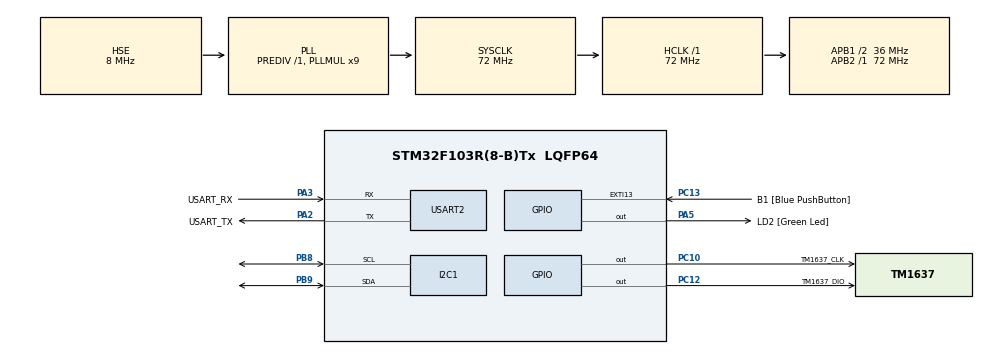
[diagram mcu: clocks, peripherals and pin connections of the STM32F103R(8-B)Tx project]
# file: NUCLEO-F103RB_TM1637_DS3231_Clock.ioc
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Dma.Request0=USART2_RX
Dma.USART2_RX.0.Direction=DMA_PERIPH_TO_MEMORY
Dma.USART2_RX.0.Instance=DMA1_Channel6
Dma.USART2_RX.0.MemDataAlignment=DMA_MDATAALIGN_BYTE
Dma.USART2_RX.0.MemInc=DMA_MINC_ENABLE
Dma.USART2_RX.0.Mode=DMA_NORMAL
Dma.USART2_RX.0.PeriphDataAlignment=DMA_PDATAALIGN_BYTE
Dma.USART2_RX.0.PeriphInc=DMA_PINC_DISABLE
Dma.USART2_RX.0.Priority=DMA_PRIORITY_LOW
Mcu.Family=STM32F1
Mcu.Name=STM32F103R(8-B)Tx
Mcu.Package=LQFP64
NVIC.DMA1_Channel6_IRQn=true\:0\:0\:false\:false\:true\:false\:true\:true
NVIC.EXTI15_10_IRQn=true\:0\:0\:false\:false\:true\:true\:true\:true
NVIC.PriorityGroup=NVIC_PRIORITYGROUP_4
PA13.GPIO_Label=TMS
PA13.Mode=Serial_Wire
PA13.Signal=SYS_JTMS-SWDIO
PA14.GPIO_Label=TCK
PA14.Mode=Serial_Wire
PA14.Signal=SYS_JTCK-SWCLK
PA2.GPIO_Label=USART_TX
PA2.GPIO_Mode=GPIO_MODE_AF_PP
PA2.GPIO_PuPd=GPIO_NOPULL
PA2.GPIO_Speed=GPIO_SPEED_FREQ_LOW
PA2.Mode=Asynchronous
PA2.Signal=USART2_TX
PA3.GPIO_Label=USART_RX
PA3.GPIO_Mode=GPIO_MODE_AF_PP
PA3.GPIO_PuPd=GPIO_NOPULL
PA3.GPIO_Speed=GPIO_SPEED_FREQ_LOW
PA3.Mode=Asynchronous
PA3.Signal=USART2_RX
PA5.GPIO_Label=LD2 [Green Led]
PA5.GPIO_ModeDefaultOutputPP=GPIO_MODE_OUTPUT_PP
PA5.GPIO_PuPd=GPIO_NOPULL
PA5.GPIO_Speed=GPIO_SPEED_FREQ_LOW
PA5.Signal=GPIO_Output
PB3.GPIO_Label=SWO
PB3.Signal=SYS_JTDO-TRACESWO
PB8.Mode=I2C
PB8.Signal=I2C1_SCL
PB9.Mode=I2C
PB9.Signal=I2C1_SDA
PC10.GPIO_Label=TM1637_CLK
PC10.GPIO_ModeDefaultOutputPP=GPIO_MODE_OUTPUT_OD
PC10.GPIO_PuPd=GPIO_PULLUP
PC10.GPIO_Speed=GPIO_SPEED_FREQ_HIGH
PC10.PinState=GPIO_PIN_SET
PC10.Signal=GPIO_Output
PC12.GPIO_Label=TM1637_DIO
PC12.GPIO_ModeDefaultOutputPP=GPIO_MODE_OUTPUT_OD
PC12.GPIO_PuPd=GPIO_PULLUP
PC12.GPIO_Speed=GPIO_SPEED_FREQ_HIGH
PC12.PinState=GPIO_PIN_SET
PC12.Signal=GPIO_Output
PC13-TAMPER-RTC.GPIO_Label=B1 [Blue PushButton]
PC13-TAMPER-RTC.GPIO_PuPd=GPIO_NOPULL
PC13-TAMPER-RTC.Signal=GPXTI13
PC14-OSC32_IN.Mode=LSE-External-Oscillator
PC14-OSC32_IN.Signal=RCC_OSC32_IN
PC15-OSC32_OUT.Mode=LSE-External-Oscillator
PC15-OSC32_OUT.Signal=RCC_OSC32_OUT
PD0-OSC_IN.Mode=HSE-External-Clock-Source
PD0-OSC_IN.Signal=RCC_OSC_IN
PD1-OSC_OUT.Mode=HSE-External-Clock-Source
PD1-OSC_OUT.Signal=RCC_OSC_OUT
ProjectManager.HeapSize=0x400
ProjectManager.StackSize=0x400
ProjectManager.TargetToolchain=STM32CubeIDE
RCC.AHBFreq_Value=72000000
RCC.APB1CLKDivider=RCC_HCLK_DIV2
RCC.APB1Freq_Value=36000000
RCC.APB1TimFreq_Value=72000000
RCC.APB2Freq_Value=72000000
RCC.APB2TimFreq_Value=72000000
RCC.HCLKFreq_Value=72000000
RCC.PLLMUL=RCC_PLL_MUL9
RCC.PLLSourceVirtual=RCC_PLLSOURCE_HSE
RCC.RTCClockSelection=RCC_RTCCLKSOURCE_LSE
RCC.SYSCLKFreq_VALUE=72000000
RCC.SYSCLKSource=RCC_SYSCLKSOURCE_PLLCLK
RCC.USBFreq_Value=72000000
TIM4.Channel-PWM\ Generation1\ No\ Output=TIM_CHANNEL_1
TIM4.Prescaler=72-1
USART2.VirtualMode=VM_ASYNC
VP_RTC_VS_RTC_Activate.Mode=RTC_Enabled
VP_TIM4_VS_ClockSourceINT.Mode=Internal
VP_TIM4_VS_no_output1.Mode=PWM Generation1 No Output
board=NUCLEO-F103RB

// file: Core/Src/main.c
/* USER CODE BEGIN Header */
/**
  ******************************************************************************
  * @file           : main.c
  * @brief          : Main program body
  ******************************************************************************
  * @attention
  *
  * Copyright (c) 2024 STMicroelectronics.
  * All rights reserved.
  *
  * This software is licensed under terms that can be found in the LICENSE file
  * in the root directory of this software component.
  * If no LICENSE file comes with this software, it is provided AS-IS.
  *
  ******************************************************************************
  */
/* USER CODE END Header */
#include "main.h"

/* USER CODE BEGIN Includes */
#include <stdio.h> // printf()
#include "command_line.h"
#include "DS3231.h"
//#include <TM1637Display.h> // Including this causes the "C" compiler to stumble on the "C++" definitions

/* USER CODE END Includes */

/* USER CODE BEGIN PD */
void init_tm1637(void); // TM1637_Interface.cpp
void update_clock(void);

/* USER CODE END PD */

I2C_HandleTypeDef hi2c1;

RTC_HandleTypeDef hrtc;

TIM_HandleTypeDef htim4;

UART_HandleTypeDef huart2;
DMA_HandleTypeDef hdma_usart2_rx;

void SystemClock_Config(void);
static void MX_GPIO_Init(void);
static void MX_DMA_Init(void);
static void MX_USART2_UART_Init(void);
static void MX_TIM4_Init(void);
static void MX_RTC_Init(void);
static void MX_I2C1_Init(void);

/* USER CODE BEGIN 0 */
#define HAL_SMALL_WAIT  40

// Define serial input and output functions using UART2
// DMA Buffer for usart2 RX
//#define USART2_RX_DMA_BUFFER_SIZE 1030 // any size will do, but we may want to choose X-Modem 1K receive size
#define USART2_RX_DMA_BUFFER_SIZE 80
uint8_t usart2_rx_dma_buffer[USART2_RX_DMA_BUFFER_SIZE];

// Implement a get_byte(void) function that utilizes a circular DMA RX buffer that:
// 1) Tests if data is available in the DMA RX buffer
// 2) Pulls and returns the data
// 3) Manages an index_out value for next removal of data
// 4) As a non-blocking function, return EOF when no bytes are available, else returns data byte
int __io_getchar(void)
{
#if 1
	// The following supports STM32-F103RB for UART DMA Receive
	static uint16_t index_out = 0;
	uint16_t index_in = USART2_RX_DMA_BUFFER_SIZE - huart2.hdmarx->Instance->CNDTR;
	if(index_in == index_out) return EOF;
	// Else, we have a byte in buffer to return
	uint8_t data = usart2_rx_dma_buffer[index_out];
	// advance index
	index_out++;
	// wrap index when necessary
	if(index_out >= USART2_RX_DMA_BUFFER_SIZE) index_out = 0;
	return data;

#else
	// Brain dead polling
	char ch;
	if(HAL_OK == HAL_UART_Receive(&huart2, (uint8_t *)&ch, 1, 50))
	    return ch;
	else
		return EOF;
#endif

}

int __io_putchar(int ch)
{
    HAL_UART_Transmit(&huart2, (uint8_t *)&ch, 1, HAL_SMALL_WAIT);
    return 1;
}

/* USER CODE END 0 */

int main(void)
{

  /* MCU Configuration--------------------------------------------------------*/

  /* Reset of all peripherals, Initializes the Flash interface and the Systick. */
  HAL_Init();

  /* Configure the system clock */
  SystemClock_Config();

  /* Initialize all configured peripherals */
  MX_GPIO_Init();
  MX_DMA_Init();
  MX_USART2_UART_Init();
  MX_TIM4_Init();
  MX_RTC_Init();
  MX_I2C1_Init();
  /* USER CODE BEGIN 2 */
  //setvbuf(stdout, NULL, _IONBF, 0);	// Disable stdio output buffering
  // Define DMA buffer for UART peripheral
  HAL_UART_Receive_DMA(&huart2, usart2_rx_dma_buffer, USART2_RX_DMA_BUFFER_SIZE);
  cl_setup(); // calls setvbuf()

  /* USER CODE END 2 */

  /* Infinite loop */
  /* USER CODE BEGIN WHILE */
  //init_ds3231(); // Start DS3231 clock running - reset time if clock was stopped
  init_tm1637(); // init display for clock usage.  Display will show 00:00
  while (1)
  {
    cl_loop();	// check for serial character input for command line

    // Check RTC once a second.  Update display if minute value changes.
    static uint32_t previous_ticks = 0;
    // If delta time is greater or equal to 1000ms, update clock
    if( (HAL_GetTick() - previous_ticks) >= 1000 ) {
		previous_ticks = HAL_GetTick(); // reload for next second
		update_clock(); // every second, check time, update clock if needed
    }

    /* USER CODE END WHILE */

  }
}

void SystemClock_Config(void)
{
  RCC_OscInitTypeDef RCC_OscInitStruct = {0};
  RCC_ClkInitTypeDef RCC_ClkInitStruct = {0};
  RCC_PeriphCLKInitTypeDef PeriphClkInit = {0};

  /** Initializes the RCC Oscillators according to the specified parameters
  * in the RCC_OscInitTypeDef structure.
  */
  RCC_OscInitStruct.OscillatorType = RCC_OSCILLATORTYPE_HSE|RCC_OSCILLATORTYPE_LSE;
  RCC_OscInitStruct.HSEState = RCC_HSE_BYPASS;
  RCC_OscInitStruct.HSEPredivValue = RCC_HSE_PREDIV_DIV1;
  RCC_OscInitStruct.LSEState = RCC_LSE_ON;
  RCC_OscInitStruct.HSIState = RCC_HSI_ON;
  RCC_OscInitStruct.PLL.PLLState = RCC_PLL_ON;
  RCC_OscInitStruct.PLL.PLLSource = RCC_PLLSOURCE_HSE;
  RCC_OscInitStruct.PLL.PLLMUL = RCC_PLL_MUL9;
  if (HAL_RCC_OscConfig(&RCC_OscInitStruct) != HAL_OK)
  {
    Error_Handler();
  }

  /** Initializes the CPU, AHB and APB buses clocks
  */
  RCC_ClkInitStruct.ClockType = RCC_CLOCKTYPE_HCLK|RCC_CLOCKTYPE_SYSCLK
                              |RCC_CLOCKTYPE_PCLK1|RCC_CLOCKTYPE_PCLK2;
  RCC_ClkInitStruct.SYSCLKSource = RCC_SYSCLKSOURCE_PLLCLK;
  RCC_ClkInitStruct.AHBCLKDivider = RCC_SYSCLK_DIV1;
  RCC_ClkInitStruct.APB1CLKDivider = RCC_HCLK_DIV2;
  RCC_ClkInitStruct.APB2CLKDivider = RCC_HCLK_DIV1;

  if (HAL_RCC_ClockConfig(&RCC_ClkInitStruct, FLASH_LATENCY_2) != HAL_OK)
  {
    Error_Handler();
  }
  PeriphClkInit.PeriphClockSelection = RCC_PERIPHCLK_RTC;
  PeriphClkInit.RTCClockSelection = RCC_RTCCLKSOURCE_LSE;
  if (HAL_RCCEx_PeriphCLKConfig(&PeriphClkInit) != HAL_OK)
  {
    Error_Handler();
  }
}

static void MX_I2C1_Init(void)
{

  hi2c1.Instance = I2C1;
  hi2c1.Init.ClockSpeed = 100000;
  hi2c1.Init.DutyCycle = I2C_DUTYCYCLE_2;
  hi2c1.Init.OwnAddress1 = 0;
  hi2c1.Init.AddressingMode = I2C_ADDRESSINGMODE_7BIT;
  hi2c1.Init.DualAddressMode = I2C_DUALADDRESS_DISABLE;
  hi2c1.Init.OwnAddress2 = 0;
  hi2c1.Init.GeneralCallMode = I2C_GENERALCALL_DISABLE;
  hi2c1.Init.NoStretchMode = I2C_NOSTRETCH_DISABLE;
  if (HAL_I2C_Init(&hi2c1) != HAL_OK)
  {
    Error_Handler();
  }

}

static void MX_RTC_Init(void)
{

  /** Initialize RTC Only
  */
  hrtc.Instance = RTC;
  hrtc.Init.AsynchPrediv = RTC_AUTO_1_SECOND;
  hrtc.Init.OutPut = RTC_OUTPUTSOURCE_ALARM;
  if (HAL_RTC_Init(&hrtc) != HAL_OK)
  {
    Error_Handler();
  }

}

static void MX_TIM4_Init(void)
{

  TIM_ClockConfigTypeDef sClockSourceConfig = {0};
  TIM_MasterConfigTypeDef sMasterConfig = {0};
  TIM_OC_InitTypeDef sConfigOC = {0};

  htim4.Instance = TIM4;
  htim4.Init.Prescaler = 72-1;
  htim4.Init.CounterMode = TIM_COUNTERMODE_UP;
  htim4.Init.Period = 65535;
  htim4.Init.ClockDivision = TIM_CLOCKDIVISION_DIV1;
  htim4.Init.AutoReloadPreload = TIM_AUTORELOAD_PRELOAD_DISABLE;
  if (HAL_TIM_Base_Init(&htim4) != HAL_OK)
  {
    Error_Handler();
  }
  sClockSourceConfig.ClockSource = TIM_CLOCKSOURCE_INTERNAL;
  if (HAL_TIM_ConfigClockSource(&htim4, &sClockSourceConfig) != HAL_OK)
  {
    Error_Handler();
  }
  if (HAL_TIM_PWM_Init(&htim4) != HAL_OK)
  {
    Error_Handler();
  }
  sMasterConfig.MasterOutputTrigger = TIM_TRGO_RESET;
  sMasterConfig.MasterSlaveMode = TIM_MASTERSLAVEMODE_DISABLE;
  if (HAL_TIMEx_MasterConfigSynchronization(&htim4, &sMasterConfig) != HAL_OK)
  {
    Error_Handler();
  }
  sConfigOC.OCMode = TIM_OCMODE_PWM1;
  sConfigOC.Pulse = 0;
  sConfigOC.OCPolarity = TIM_OCPOLARITY_HIGH;
  sConfigOC.OCFastMode = TIM_OCFAST_DISABLE;
  if (HAL_TIM_PWM_ConfigChannel(&htim4, &sConfigOC, TIM_CHANNEL_1) != HAL_OK)
  {
    Error_Handler();
  }
  /* USER CODE BEGIN TIM4_Init 2 */
  HAL_TIM_Base_Start(&htim4);

  /* USER CODE END TIM4_Init 2 */

}

static void MX_USART2_UART_Init(void)
{

  huart2.Instance = USART2;
  huart2.Init.BaudRate = 115200;
  huart2.Init.WordLength = UART_WORDLENGTH_8B;
  huart2.Init.StopBits = UART_STOPBITS_1;
  huart2.Init.Parity = UART_PARITY_NONE;
  huart2.Init.Mode = UART_MODE_TX_RX;
  huart2.Init.HwFlowCtl = UART_HWCONTROL_NONE;
  huart2.Init.OverSampling = UART_OVERSAMPLING_16;
  if (HAL_UART_Init(&huart2) != HAL_OK)
  {
    Error_Handler();
  }

}

static void MX_DMA_Init(void)
{

  /* DMA controller clock enable */
  __HAL_RCC_DMA1_CLK_ENABLE();

  /* DMA interrupt init */
  /* DMA1_Channel6_IRQn interrupt configuration */
  HAL_NVIC_SetPriority(DMA1_Channel6_IRQn, 0, 0);
  HAL_NVIC_EnableIRQ(DMA1_Channel6_IRQn);

}

static void MX_GPIO_Init(void)
{
  GPIO_InitTypeDef GPIO_InitStruct = {0};

  /* GPIO Ports Clock Enable */
  __HAL_RCC_GPIOC_CLK_ENABLE();
  __HAL_RCC_GPIOD_CLK_ENABLE();
  __HAL_RCC_GPIOA_CLK_ENABLE();
  __HAL_RCC_GPIOB_CLK_ENABLE();

  /*Configure GPIO pin Output Level */
  HAL_GPIO_WritePin(LD2_GPIO_Port, LD2_Pin, GPIO_PIN_RESET);

  /*Configure GPIO pin Output Level */
  HAL_GPIO_WritePin(GPIOC, TM1637_CLK_Pin|TM1637_DIO_Pin, GPIO_PIN_SET);

  /*Configure GPIO pin : B1_Pin */
  GPIO_InitStruct.Pin = B1_Pin;
  GPIO_InitStruct.Mode = GPIO_MODE_IT_RISING;
  GPIO_InitStruct.Pull = GPIO_NOPULL;
  HAL_GPIO_Init(B1_GPIO_Port, &GPIO_InitStruct);

  /*Configure GPIO pin : LD2_Pin */
  GPIO_InitStruct.Pin = LD2_Pin;
  GPIO_InitStruct.Mode = GPIO_MODE_OUTPUT_PP;
  GPIO_InitStruct.Pull = GPIO_NOPULL;
  GPIO_InitStruct.Speed = GPIO_SPEED_FREQ_LOW;
  HAL_GPIO_Init(LD2_GPIO_Port, &GPIO_InitStruct);

  /*Configure GPIO pins : TM1637_CLK_Pin TM1637_DIO_Pin */
  GPIO_InitStruct.Pin = TM1637_CLK_Pin|TM1637_DIO_Pin;
  GPIO_InitStruct.Mode = GPIO_MODE_OUTPUT_OD;
  GPIO_InitStruct.Pull = GPIO_PULLUP;
  GPIO_InitStruct.Speed = GPIO_SPEED_FREQ_HIGH;
  HAL_GPIO_Init(GPIOC, &GPIO_InitStruct);

  /* EXTI interrupt init*/
  HAL_NVIC_SetPriority(EXTI15_10_IRQn, 0, 0);
  HAL_NVIC_EnableIRQ(EXTI15_10_IRQn);

}

void Error_Handler(void)
{
  __disable_irq();
  while (1)
  {
  }
}
